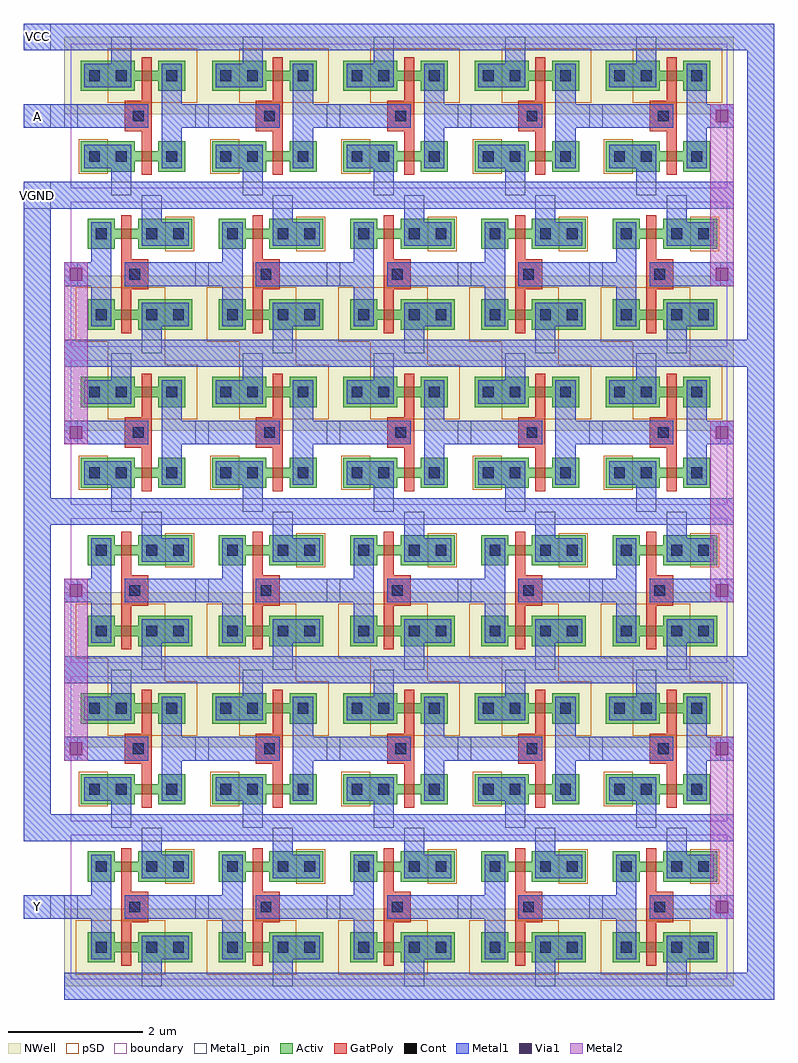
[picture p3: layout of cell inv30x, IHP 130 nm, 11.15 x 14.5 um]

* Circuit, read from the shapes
.subckt inv30x A VCC VGND Y
XM1 VGND inverter_15/A Y VGND sg13_lv_nmos w=0.15u l=0.15u
XM2 VGND inverter_6/A inverter_5/A VGND sg13_lv_nmos w=0.15u l=0.15u
XM3 VGND inverter_21/A inverter_20/A VGND sg13_lv_nmos w=0.15u l=0.15u
XM4 inverter_7/A inverter_5/A VGND VGND sg13_lv_nmos w=0.15u l=0.15u
XM5 inverter_19/A inverter_20/A VGND VGND sg13_lv_nmos w=0.15u l=0.15u
XM6 inverter_29/A A VGND VGND sg13_lv_nmos w=0.15u l=0.15u
XM7 VGND inverter_14/A inverter_15/A VGND sg13_lv_nmos w=0.15u l=0.15u
XM8 VGND inverter_3/A inverter_6/A VGND sg13_lv_nmos w=0.15u l=0.15u
XM9 VGND inverter_22/A inverter_21/A VGND sg13_lv_nmos w=0.15u l=0.15u
XM10 inverter_8/A inverter_7/A VGND VGND sg13_lv_nmos w=0.15u l=0.15u
XM11 inverter_17/A inverter_19/A VGND VGND sg13_lv_nmos w=0.15u l=0.15u
XM12 inverter_28/A inverter_29/A VGND VGND sg13_lv_nmos w=0.15u l=0.15u
XM13 VGND inverter_13/A inverter_14/A VGND sg13_lv_nmos w=0.15u l=0.15u
XM14 VGND inverter_1/A inverter_3/A VGND sg13_lv_nmos w=0.15u l=0.15u
XM15 VGND inverter_23/A inverter_22/A VGND sg13_lv_nmos w=0.15u l=0.15u
XM16 inverter_10/A inverter_8/A VGND VGND sg13_lv_nmos w=0.15u l=0.15u
XM17 inverter_2/A inverter_17/A VGND VGND sg13_lv_nmos w=0.15u l=0.15u
XM18 inverter_26/A inverter_28/A VGND VGND sg13_lv_nmos w=0.15u l=0.15u
XM19 VGND inverter_11/A inverter_13/A VGND sg13_lv_nmos w=0.15u l=0.15u
XM20 VGND inverter_16/A inverter_1/A VGND sg13_lv_nmos w=0.15u l=0.15u
XM21 VGND inverter_25/A inverter_23/A VGND sg13_lv_nmos w=0.15u l=0.15u
XM22 inverter_12/A inverter_10/A VGND VGND sg13_lv_nmos w=0.15u l=0.15u
XM23 inverter_4/A inverter_2/A VGND VGND sg13_lv_nmos w=0.15u l=0.15u
XM24 inverter_24/A inverter_26/A VGND VGND sg13_lv_nmos w=0.15u l=0.15u
XM25 VGND inverter_9/A inverter_11/A VGND sg13_lv_nmos w=0.15u l=0.15u
XM26 VGND inverter_18/A inverter_16/A VGND sg13_lv_nmos w=0.15u l=0.15u
XM27 VGND inverter_27/A inverter_25/A VGND sg13_lv_nmos w=0.15u l=0.15u
XM28 inverter_9/A inverter_12/A VGND VGND sg13_lv_nmos w=0.15u l=0.15u
XM29 inverter_18/A inverter_4/A VGND VGND sg13_lv_nmos w=0.15u l=0.15u
XM30 inverter_27/A inverter_24/A VGND VGND sg13_lv_nmos w=0.15u l=0.15u
XM31 VCC inverter_15/A Y VCC sg13_lv_pmos w=0.15u l=0.15u
XM32 VCC inverter_6/A inverter_5/A VCC sg13_lv_pmos w=0.15u l=0.15u
XM33 VCC inverter_21/A inverter_20/A VCC sg13_lv_pmos w=0.15u l=0.15u
XM34 inverter_7/A inverter_5/A VCC VCC sg13_lv_pmos w=0.15u l=0.15u
XM35 inverter_19/A inverter_20/A VCC VCC sg13_lv_pmos w=0.15u l=0.15u
XM36 inverter_29/A A VCC VCC sg13_lv_pmos w=0.15u l=0.15u
XM37 VCC inverter_14/A inverter_15/A VCC sg13_lv_pmos w=0.15u l=0.15u
XM38 VCC inverter_3/A inverter_6/A VCC sg13_lv_pmos w=0.15u l=0.15u
XM39 VCC inverter_22/A inverter_21/A VCC sg13_lv_pmos w=0.15u l=0.15u
XM40 inverter_8/A inverter_7/A VCC VCC sg13_lv_pmos w=0.15u l=0.15u
XM41 inverter_17/A inverter_19/A VCC VCC sg13_lv_pmos w=0.15u l=0.15u
XM42 inverter_28/A inverter_29/A VCC VCC sg13_lv_pmos w=0.15u l=0.15u
XM43 VCC inverter_13/A inverter_14/A VCC sg13_lv_pmos w=0.15u l=0.15u
XM44 VCC inverter_1/A inverter_3/A VCC sg13_lv_pmos w=0.15u l=0.15u
XM45 VCC inverter_23/A inverter_22/A VCC sg13_lv_pmos w=0.15u l=0.15u
XM46 inverter_10/A inverter_8/A VCC VCC sg13_lv_pmos w=0.15u l=0.15u
XM47 inverter_2/A inverter_17/A VCC VCC sg13_lv_pmos w=0.15u l=0.15u
XM48 inverter_26/A inverter_28/A VCC VCC sg13_lv_pmos w=0.15u l=0.15u
XM49 VCC inverter_11/A inverter_13/A VCC sg13_lv_pmos w=0.15u l=0.15u
XM50 VCC inverter_16/A inverter_1/A VCC sg13_lv_pmos w=0.15u l=0.15u
XM51 VCC inverter_25/A inverter_23/A VCC sg13_lv_pmos w=0.15u l=0.15u
XM52 inverter_12/A inverter_10/A VCC VCC sg13_lv_pmos w=0.15u l=0.15u
XM53 inverter_4/A inverter_2/A VCC VCC sg13_lv_pmos w=0.15u l=0.15u
XM54 inverter_24/A inverter_26/A VCC VCC sg13_lv_pmos w=0.15u l=0.15u
XM55 VCC inverter_9/A inverter_11/A VCC sg13_lv_pmos w=0.15u l=0.15u
XM56 VCC inverter_18/A inverter_16/A VCC sg13_lv_pmos w=0.15u l=0.15u
XM57 VCC inverter_27/A inverter_25/A VCC sg13_lv_pmos w=0.15u l=0.15u
XM58 inverter_9/A inverter_12/A VCC VCC sg13_lv_pmos w=0.15u l=0.15u
XM59 inverter_18/A inverter_4/A VCC VCC sg13_lv_pmos w=0.15u l=0.15u
XM60 inverter_27/A inverter_24/A VCC VCC sg13_lv_pmos w=0.15u l=0.15u
.ends

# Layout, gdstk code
from math import pi, radians
import gdstk
lib = gdstk.Library(unit=1e-6, precision=1e-09)
def R(c, l, rs):  # rectangles x0, y0, x1, y1
    for r in rs: c.add(gdstk.rectangle(r[:2], r[2:], *l))
def A(c, l, x, y, w, h, nx, ny, dx, dy):  # array of equal rectangles
    R(c, l, [(x+i*dx, y+j*dy, x+i*dx+w, y+j*dy+h) for i in range(nx) for j in range(ny)])
Activ = (1, 0)
GatPoly = (5, 0)
Cont = (6, 0)
Metal1 = (8, 0)
Metal1_pin = (8, 2)
Metal2 = (10, 0)
pSD = (14, 0)
Via1 = (19, 0)
NWell = (31, 0)
boundary = (189, 4)

inverter = lib.new_cell('inverter')
R(inverter, Activ, [(0.25,0.35,1.05,0.5), (1.4,0.35,1.8,0.5), (0.25,0.5,1.8,0.65), (0.25,0.65,1.05,0.8), (1.4,0.65,1.8,0.8), (0.25,1.55,1.05,1.7), (1.4,1.55,1.8,1.7), (0.25,1.7,1.8,1.85), (0.25,1.85,1.05,2), (1.4,1.85,1.8,2)])
R(inverter, GatPoly, [(1.15,0.3,1.3,0.95), (0.9,0.95,1.3,1.4), (1.15,1.4,1.3,2.05)])
R(inverter, Cont, [(0.37,0.495,0.53,0.655), (0.77,0.495,0.93,0.655), (1.52,0.495,1.68,0.655), (1.02,1.095,1.18,1.255), (0.37,1.695,0.53,1.855), (0.77,1.695,0.93,1.855), (1.52,1.695,1.68,1.855)])
R(inverter, Metal1, [(0.7,0,1,0.4), (0.3,0.4,1,0.75), (1.45,0.4,1.75,1), (0,1,1.25,1.35), (1.45,1,2.15,1.35), (1.45,1.35,1.75,1.95), (0.3,1.6,1,1.95), (0.7,1.95,1,2.35)])
R(inverter, Metal1_pin, [(0.7,0,1,0.2), (0,1,0.2,1.35), (1.95,1,2.15,1.35), (0.7,2.15,1,2.35)])
R(inverter, pSD, [(0.22,0.32,0.65,0.83), (0.65,1.37,1.98,2.18)])
R(inverter, NWell, [(0,1.2,2.15,2.35)])
R(inverter, boundary, [(0.1,0.1,2.05,2.25)])
inverter.add(gdstk.Label('Y', (2.05,1.175), layer=8, texttype=25))
inverter.add(gdstk.Label('A', (0.1,1.175), layer=8, texttype=25))
inverter.add(gdstk.Label('VGND', (0.85,0.1), layer=8, texttype=25))
inverter.add(gdstk.Label('VCC', (0.85,2.25), layer=8, texttype=25))

inv30x = lib.new_cell('inv30x')
A(inv30x, Metal1, -0.1, -12.05, 10.55, 0.4, 1, 3, 0, 4.7)
A(inv30x, Metal1, 10.05, -11.65, 0.4, 4.3, 1, 3, 0, 4.7)
A(inv30x, Metal1, 9.55, -10.8, 0.25, 0.25, 1, 6, 0, 2.35)
A(inv30x, Metal1, -0.7, -9.7, 10.55, 0.4, 1, 3, 0, 4.7)
A(inv30x, Metal1, -0.05, -8.45, 0.25, 0.25, 1, 4, 0, 2.35)
R(inv30x, Metal1, [(-0.7,-10.85,0.1,-10.5), (-0.7,-9.3,-0.3,-5), (-0.7,-4.6,-0.3,-0.3), (-0.7,0.9,0.1,1.25), (-0.7,2.05,10.45,2.45)])
R(inv30x, Metal1_pin, [(-0.7,-10.85,-0.3,-10.5), (-0.7,-0.3,-0.3,0.1), (-0.7,0.9,-0.3,1.25), (-0.7,2.05,-0.3,2.45)])
A(inv30x, Metal2, 9.5, -10.85, 0.35, 2.7, 1, 3, 0, 4.7)
R(inv30x, Metal2, [(-0.1,-8.5,0.25,-5.8), (-0.1,-3.8,0.25,-1.1)])
A(inv30x, pSD, 0.55, -7.32, 0.85, 0.34, 5, 2, 1.95, 4.7)
A(inv30x, Via1, 9.58, -10.77, 0.19, 0.19, 1, 6, 0, 2.35)
A(inv30x, Via1, -0.02, -8.42, 0.19, 0.19, 1, 4, 0, 2.35)
inv30x.add(gdstk.Reference(inverter, (-0.1,-0.1)))
inv30x.add(gdstk.Reference(inverter, (5.95,-4.8), rotation=pi))
inv30x.add(gdstk.Reference(inverter, (5.75,-4.8)))
inv30x.add(gdstk.Reference(inverter, (4,-4.8), rotation=pi))
inv30x.add(gdstk.Reference(inverter, (7.7,-4.8)))
inv30x.add(gdstk.Reference(inverter, (-0.1,-9.5)))
inv30x.add(gdstk.Reference(inverter, (2.05,-4.8), rotation=pi))
inv30x.add(gdstk.Reference(inverter, (1.85,-9.5)))
inv30x.add(gdstk.Reference(inverter, (3.8,-9.5)))
inv30x.add(gdstk.Reference(inverter, (9.85,-9.5), rotation=pi))
inv30x.add(gdstk.Reference(inverter, (5.75,-9.5)))
inv30x.add(gdstk.Reference(inverter, (7.9,-9.5), rotation=pi))
inv30x.add(gdstk.Reference(inverter, (7.7,-9.5)))
inv30x.add(gdstk.Reference(inverter, (5.95,-9.5), rotation=pi))
inv30x.add(gdstk.Reference(inverter, (4,-9.5), rotation=pi))
inv30x.add(gdstk.Reference(inverter, (2.05,-9.5), rotation=pi))
inv30x.add(gdstk.Reference(inverter, (7.9,-4.8), rotation=pi))
inv30x.add(gdstk.Reference(inverter, (3.8,-4.8)))
inv30x.add(gdstk.Reference(inverter, (9.85,-4.8), rotation=pi))
inv30x.add(gdstk.Reference(inverter, (1.85,-4.8)))
inv30x.add(gdstk.Reference(inverter, (-0.1,-4.8)))
inv30x.add(gdstk.Reference(inverter, (2.05,-0.1), rotation=pi))
inv30x.add(gdstk.Reference(inverter, (4,-0.1), rotation=pi))
inv30x.add(gdstk.Reference(inverter, (5.95,-0.1), rotation=pi))
inv30x.add(gdstk.Reference(inverter, (7.7,-0.1)))
inv30x.add(gdstk.Reference(inverter, (7.9,-0.1), rotation=pi))
inv30x.add(gdstk.Reference(inverter, (5.75,-0.1)))
inv30x.add(gdstk.Reference(inverter, (9.85,-0.1), rotation=pi))
inv30x.add(gdstk.Reference(inverter, (3.8,-0.1)))
inv30x.add(gdstk.Reference(inverter, (1.85,-0.1)))
inv30x.add(gdstk.Label('Y', (-0.5,-10.675), layer=8, texttype=25))
inv30x.add(gdstk.Label('A', (-0.5,1.075), layer=8, texttype=25))
inv30x.add(gdstk.Label('VGND', (-0.5,-0.1), layer=8, texttype=25))
inv30x.add(gdstk.Label('VCC', (-0.5,2.25), layer=8, texttype=25))

lib.write_gds('inv30x.gds')
